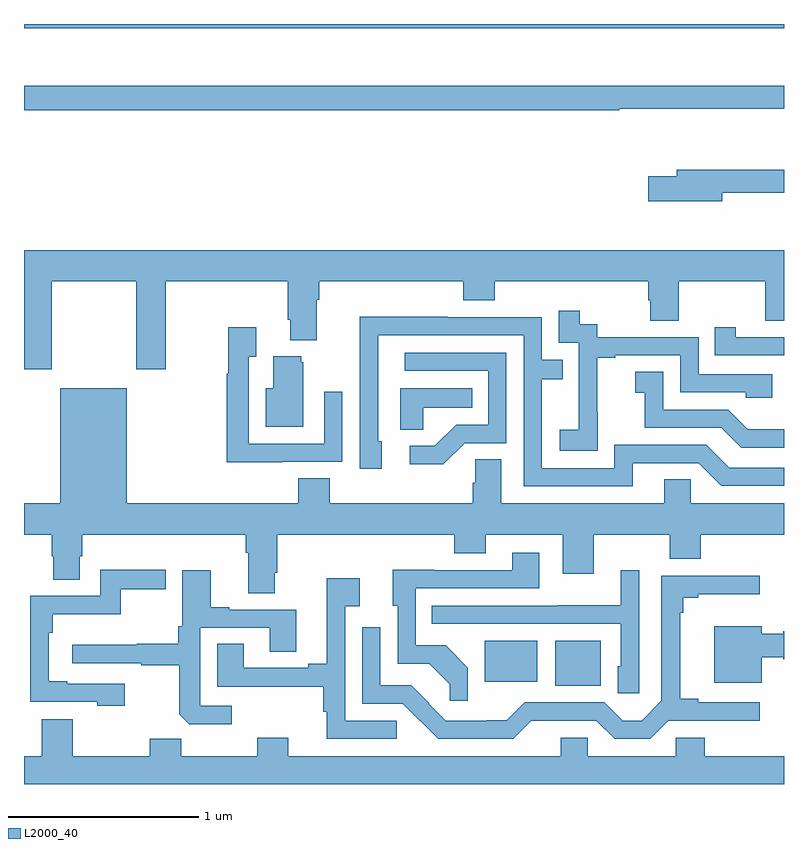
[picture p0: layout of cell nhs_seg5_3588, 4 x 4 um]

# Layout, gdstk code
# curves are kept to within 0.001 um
import gdstk
lib = gdstk.Library(unit=1e-6, precision=1e-09)
def R(c, l, rs):  # rectangles x0, y0, x1, y1
    for r in rs: c.add(gdstk.rectangle(r[:2], r[2:], *l))
def P(c, l, *ps):  # polygons
    for p in ps: c.add(gdstk.Polygon(p, *l))
L2000_40 = (2000, 40)

nhs_seg5_3588 = lib.new_cell('nhs_seg5_3588')
R(nhs_seg5_3588, L2000_40, [(325.796,837.317,326.035,837.553), (325.424,837.338,325.702,837.553), (323,840.776,327,840.799)])
P(nhs_seg5_3588, L2000_40, [(326.134,840.354),(327,840.354),(327,840.475),(323,840.475),(323,840.346),(326.134,840.346)],
  [(326.674,839.91),(327,839.91),(327,840.031),(326.435,840.031),(326.435,839.997),(326.286,839.997),(326.286,839.867),(326.674,839.867)],
  [(323,838.983),(323.145,838.983),(323.145,839.444),(323.59,839.444),(323.59,838.983),(323.745,838.983),(323.745,839.444),(324.389,839.444),(324.389,839.242),(324.401,839.242),(324.401,839.135),(324.541,839.135),(324.541,839.348),(324.554,839.348),(324.554,839.444),(325.313,839.444),(325.313,839.345),(325.478,839.345),(325.478,839.444),(326.285,839.444),(326.285,839.346),(326.297,839.346),(326.297,839.236),(326.445,839.236),(326.445,839.444),(326.902,839.444),(326.902,839.236),(327,839.236),(327,839.608),(323,839.608)],
  [(326.019,838.759),(326.018,838.759),(326.018,839.043),(326.113,839.043),(326.113,839.055),(326.454,839.055),(326.454,838.86),(326.799,838.86),(326.799,838.833),(326.939,838.833),(326.939,838.956),(326.55,838.956),(326.55,839.151),(326.016,839.151),(326.016,839.22),(325.924,839.22),(325.924,839.29),(325.815,839.29),(325.815,839.121),(325.92,839.121),(325.92,838.892),(325.919,838.892),(325.919,838.663),(325.821,838.663),(325.821,838.553),(326.019,838.553)],
  [(326.203,838.488),(326.55,838.488),(326.67,838.368),(327,838.368),(327,838.464),(326.712,838.464),(326.592,838.584),(326.106,838.584),(326.106,838.461),(325.725,838.461),(325.725,838.93),(325.835,838.93),(325.835,839.031),(325.725,839.031),(325.725,839.256),(325.229,839.256),(325.229,839.258),(324.766,839.258),(324.766,838.951),(324.768,838.951),(324.768,838.458),(324.883,838.458),(324.883,838.602),(324.864,838.602),(324.864,839.16),(325.629,839.16),(325.629,838.365),(326.203,838.365)],
  [(324.359,838.494),(324.675,838.494),(324.675,838.864),(324.579,838.864),(324.579,838.59),(324.183,838.59),(324.183,839.047),(324.223,839.047),(324.223,839.203),(324.075,839.203),(324.075,838.958),(324.067,838.958),(324.067,838.493),(324.359,838.493)],
  [(327,839.151),(326.746,839.151),(326.746,839.203),(326.635,839.203),(326.635,839.055),(327,839.055)],
  [(325.32,838.593),(325.539,838.593),(325.539,839.07),(325.005,839.07),(325.005,838.974),(325.443,838.974),(325.443,838.689),(325.274,838.689),(325.163,838.578),(325.029,838.578),(325.029,838.481),(325.207,838.481)],
  [(324.469,839.019),(324.458,839.019),(324.458,839.05),(324.311,839.05),(324.311,838.882),(324.272,838.882),(324.272,838.679),(324.469,838.679)],
  [(327,838.666),(326.81,838.666),(326.706,838.77),(326.364,838.77),(326.364,838.969),(326.217,838.969),(326.217,838.859),(326.266,838.859),(326.266,838.674),(326.669,838.674),(326.774,838.569),(327,838.569)],
  [(325.101,838.778),(325.358,838.778),(325.358,838.882),(324.98,838.882),(324.98,838.663),(325.101,838.663)],
  [(323,838.112),(323.146,838.112),(323.146,837.999),(323.153,837.999),(323.153,837.874),(323.293,837.874),(323.293,837.999),(323.306,837.999),(323.306,838.112),(324.167,838.112),(324.167,838.016),(324.179,838.016),(324.179,837.802),(324.319,837.802),(324.319,837.91),(324.332,837.91),(324.332,838.112),(325.265,838.112),(325.265,838.013),(325.429,838.013),(325.429,838.112),(325.835,838.112),(325.835,837.906),(325.999,837.906),(325.999,838.112),(326.399,838.112),(326.399,837.984),(326.563,837.984),(326.563,838.112),(327,838.112),(327,838.276),(326.508,838.276),(326.508,838.403),(326.369,838.403),(326.369,838.276),(325.513,838.276),(325.513,838.508),(325.374,838.508),(325.374,838.385),(325.361,838.385),(325.361,838.276),(324.608,838.276),(324.608,838.409),(324.443,838.409),(324.443,838.276),(323.542,838.276),(323.542,838.882),(323.192,838.882),(323.192,838.276),(323,838.276)],
  [(325.335,837.412),(325.219,837.528),(325.062,837.528),(325.062,837.828),(325.711,837.828),(325.711,838.015),(325.571,838.015),(325.571,837.924),(325.159,837.924),(325.159,837.926),(324.941,837.926),(324.941,837.738),(324.966,837.738),(324.966,837.432),(325.132,837.432),(325.24,837.324),(325.24,837.237),(325.335,837.237)],
  [(323.53,837.327),(323.227,837.327),(323.227,837.34),(323.13,837.34),(323.13,837.596),(323.15,837.596),(323.15,837.692),(323.509,837.692),(323.509,837.823),(323.746,837.823),(323.746,837.926),(323.4,837.926),(323.4,837.789),(323.034,837.789),(323.034,837.231),(323.385,837.231),(323.385,837.212),(323.53,837.212)],
  [(324.094,837.21),(323.928,837.21),(323.928,837.621),(324.293,837.621),(324.293,837.496),(324.433,837.496),(324.433,837.717),(324.079,837.717),(324.079,837.73),(323.983,837.73),(323.983,837.925),(323.832,837.925),(323.832,837.628),(323.812,837.628),(323.812,837.536),(323.593,837.536),(323.593,837.532),(323.253,837.532),(323.253,837.435),(323.617,837.435),(323.617,837.423),(323.817,837.423),(323.817,837.165),(323.869,837.114),(324.094,837.114)],
  [(326.238,837.925),(326.141,837.925),(326.141,837.739),(325.807,837.739),(325.807,837.738),(325.147,837.738),(325.147,837.642),(326.142,837.642),(326.142,837.42),(326.126,837.42),(326.126,837.277),(326.238,837.277)],
  [(325.67,837.131),(326.013,837.132),(326.109,837.036),(326.296,837.036),(326.392,837.132),(326.872,837.131),(326.872,837.228),(326.548,837.228),(326.548,837.248),(326.453,837.248),(326.453,837.701),(326.471,837.701),(326.471,837.778),(326.548,837.778),(326.548,837.797),(326.872,837.797),(326.872,837.896),(326.659,837.896),(326.659,837.894),(326.355,837.894),(326.355,837.237),(326.251,837.133),(326.15,837.133),(326.055,837.228),(325.635,837.228),(325.541,837.134),(325.436,837.134),(325.436,837.132),(325.221,837.132),(325.131,837.222),(325.133,837.224),(325.039,837.318),(324.876,837.318),(324.876,837.625),(324.78,837.625),(324.78,837.222),(324.993,837.222),(325.181,837.036),(325.575,837.036)],
  [(324.963,837.132),(324.69,837.132),(324.69,837.734),(324.766,837.734),(324.766,837.883),(324.593,837.883),(324.593,837.431),(324.497,837.431),(324.497,837.411),(324.157,837.411),(324.157,837.536),(324.017,837.536),(324.017,837.31),(324.574,837.31),(324.574,837.179),(324.593,837.179),(324.593,837.036),(324.963,837.036)],
  [(326.884,837.467),(326.997,837.467),(326.997,837.455),(327,837.455),(327,837.602),(326.997,837.602),(326.997,837.589),(326.884,837.589),(326.884,837.628),(326.633,837.628),(326.633,837.332),(326.884,837.332)],
  [(327,836.944),(326.582,836.944),(326.582,837.042),(326.43,837.042),(326.43,836.944),(325.968,836.944),(325.968,837.042),(325.826,837.042),(325.826,836.944),(324.391,836.944),(324.391,837.043),(324.227,837.043),(324.227,836.944),(323.827,836.944),(323.827,837.037),(323.663,837.037),(323.663,836.944),(323.257,836.944),(323.257,837.139),(323.093,837.139),(323.093,836.944),(323,836.944),(323,836.799),(327,836.799)])

lib.write_gds('nhs_seg5_3588.gds')
